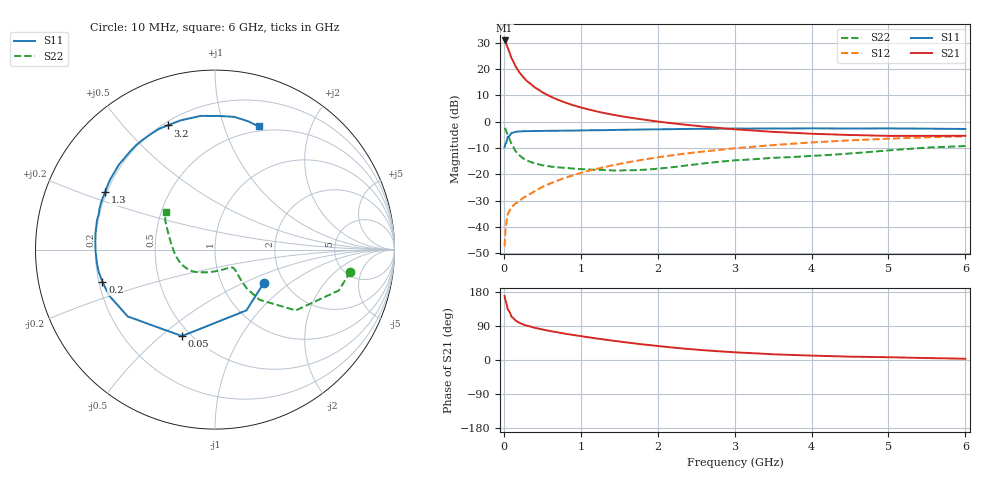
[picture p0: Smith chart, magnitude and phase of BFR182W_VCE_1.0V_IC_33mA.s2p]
! Infineon Technologies  Discrete & RF Semiconductors
! BFR182W
! VCE =  1.0 V,  IC =  33 mA
! Common Emitter S-Parameters:  Jan 2017
# GHz  S  MA  R  50
!  f  S11  S21  S12  S22
! GHz  MAG  ANG  MAG  ANG  MAG  ANG  MAG  ANG
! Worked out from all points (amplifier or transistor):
!   77 points, 10 MHz to 6 GHz, reference 50 ohm
!   highest |S21| = 30.9 dB at 10 MHz (marker M1)
!   |S21| within 3 dB of that: start of sweep to 53.06 MHz
!   unconditionally stable (mu >= 1): start of sweep to 13.01 MHz; 204.3 MHz to end of sweep
!   at 130 MHz: K = 0.76, MSG = 27.1 dB, |S12| = -31.7 dB
!   at 2.2 GHz: K = 1.17, MAG = 3.5 dB, |S12| = -12.7 dB
!   at 6 GHz: K = 1.11, MAG = -1.9 dB, |S12| = -5.6 dB
!   S11 on the Smith chart (normalised r, x): 10 MHz: 1.58, -0.66; 50 MHz: 0.45, -0.59; 200 MHz: 0.21, -0.14; 1.3 GHz: 0.19, +0.24; 3.2 GHz: 0.22, +0.67; 6 GHz: 0.45, +1.32
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0.01  0.3294 -34.4  35.09 168.7  0.0043 71.8  0.7646 -9.2
0.02  0.3813 -62.7  33.83 158.3  0.0083 71.3  0.7261 -18.3
0.05  0.5156 -110.9  25.48 134.3  0.0171 55.0  0.5632 -37.0
0.1  0.6124 -142.5  16.15 114.2  0.0237 50.0  0.3732 -48.5
0.15  0.6422 -156.2  11.45 104.5  0.0277 49.3  0.2794 -50.7
0.2  0.6527 -163.9  8.769 98.4  0.0307 51.8  0.2307 -49.9
0.25  0.6598 -169.3  7.103 93.8  0.0356 54.5  0.2017 -48.4
0.3  0.6622 -173.2  5.95 90.5  0.0388 57.9  0.1825 -47.1
0.4  0.6655 -179.2  4.515 84.9  0.0477 62.1  0.1609 -45.4
0.5  0.6684 176.3  3.63 80.5  0.0573 64.6  0.1488 -44.8
0.6  0.6722 172.4  3.047 76.5  0.0667 66.1  0.141 -45.4
0.7  0.6737 169.3  2.623 73.0  0.076 67.9  0.1359 -46.7
0.9  0.6772 163.0  2.059 66.1  0.0955 68.4  0.1288 -51.6
1.1  0.6868 157.4  1.713 60.0  0.1164 68.6  0.1236 -58.0
1.3  0.691 152.3  1.467 54.2  0.136 67.7  0.1206 -66.2
1.6  0.7038 145.1  1.221 46.2  0.1676 66.0  0.1194 -80.6
2.1  0.7189 133.4  0.968 34.9  0.2203 61.9  0.132 -107.7
3.1  0.7404 112.8  0.702 19.3  0.3211 50.8  0.1875 -145.1
3.2  0.7403 110.9  0.687 18.3  0.3304 49.6  0.1914 -148.2
4.1  0.7473 94.6  0.584 11.1  0.4113 38.7  0.2277 -176.2
5.1  0.7449 80.6  0.538 6.9  0.4811 26.7  0.2921 156.1
6  0.7283 70.4  0.54 3.3  0.5278 16.8  0.3452 142.6
